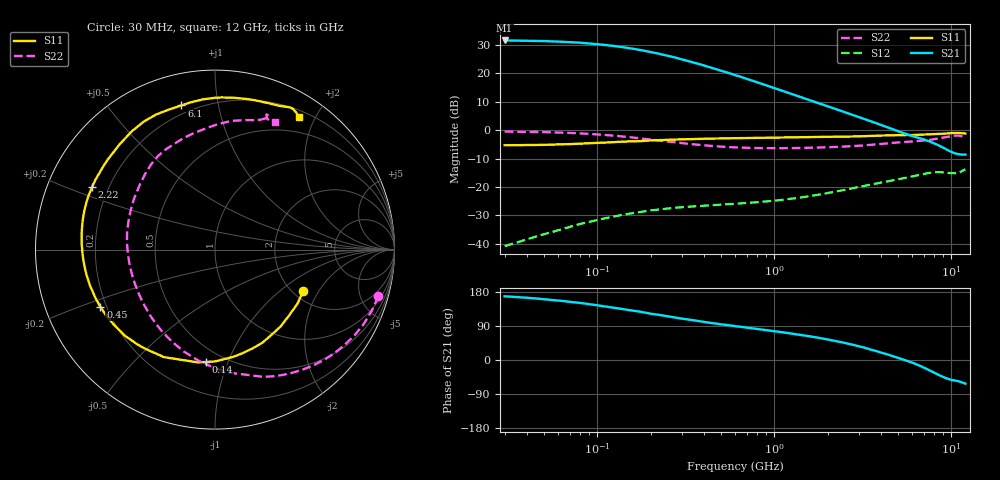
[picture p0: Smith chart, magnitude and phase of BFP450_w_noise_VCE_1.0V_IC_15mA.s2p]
! (c) 2015  Infineon Technologies AG, Munich
! Infineon Technologies  Discrete & RF Semiconductors
! BFP450
! VCE =  1.0 V,  IC =  15 mA
! Common Emitter S-Parameters:  Nov 2015
# GHz  S  MA  R  50
!  f  S11  S21  S12  S22
! GHz  MAG  ANG  MAG  ANG  MAG  ANG  MAG  ANG
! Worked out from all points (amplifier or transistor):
!   239 points, 30 MHz to 12 GHz, reference 50 ohm
!   highest |S21| = 31.6 dB at 30 MHz (marker M1)
!   |S21| within 3 dB of that: start of sweep to 162.4 MHz
!   unconditionally stable (mu >= 1): 1.788 GHz to end of sweep
!   at 300 MHz: K = 0.24, MSG = 26.0 dB, |S12| = -27.1 dB
!   at 1.88 GHz: K = 1.02, MAG = 14.8 dB, |S12| = -22.4 dB
!   at 12 GHz: K = 1.11, MAG = 0.6 dB, |S12| = -13.8 dB
!   lowest NFmin = 1.04 dB at 450 MHz
!   S11 on the Smith chart (normalised r, x): 30 MHz: 2.25, -1.49; 140 MHz: 0.41, -0.84; 450 MHz: 0.18, -0.23; 2.22 GHz: 0.14, +0.23; 6.1 GHz: 0.16, +0.78; 12 GHz: 0.29, +1.79
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0.03  0.544 -25.4  38.03 168.1  0.0091 80.5  0.9466 -16.0
0.04  0.5494 -33.5  37.6 164.3  0.012 77.8  0.9374 -21.3
0.055  0.5565 -45.7  36.73 158.8  0.016 72.1  0.919 -28.9
0.065  0.5653 -53.0  35.93 155.4  0.0186 68.9  0.9039 -33.8
0.085  0.5849 -66.2  34.18 149.0  0.0233 63.8  0.8713 -43.2
0.11  0.6059 -80.2  31.79 141.7  0.0281 57.8  0.8274 -54.0
0.14  0.6277 -94.5  28.93 134.2  0.0326 51.9  0.7757 -65.5
0.15  0.6356 -98.6  28.04 131.8  0.0339 50.0  0.7596 -69.0
0.175  0.6423 -107.1  25.83 127.4  0.0363 46.3  0.7171 -76.3
0.2  0.6628 -115.3  23.79 122.2  0.0388 43.1  0.6876 -84.4
0.24  0.6749 -124.7  21.09 116.7  0.0413 39.2  0.6421 -94.2
0.3  0.6942 -136.2  17.72 109.2  0.0442 35.0  0.5934 -107.1
0.4  0.709 -148.9  13.81 100.5  0.0471 30.9  0.5428 -122.9
0.45  0.7138 -153.5  12.38 97.1  0.0482 29.8  0.5268 -129.2
0.6  0.7249 -163.9  9.347 89.3  0.0508 28.2  0.4991 -143.5
0.8  0.7336 -173.1  6.965 81.8  0.0541 28.1  0.4855 -156.4
1  0.7403 -180.0  5.504 75.9  0.0575 28.7  0.4825 -165.8
1.64  0.7586 164.4  3.266 61.4  0.0704 30.4  0.4927 174.5
2.22  0.7687 153.1  2.361 50.0  0.0831 29.4  0.5076 161.6
4.5  0.8159 119.1  1.078 12.5  0.1277 15.1  0.5937 126.8
6.1  0.8243 103.1  0.78 -8.1  0.1555 2.9  0.6361 109.1
12  0.8736 57.5  0.373 -62.4  0.2048 -41.5  0.7836 64.7
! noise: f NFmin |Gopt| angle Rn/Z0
0.45  1.04  0.28  177  0.05
0.9  1.09  0.34  174  0.07
1.9  1.26  0.48  -168  0.06
2.4  1.42  0.51  -157  0.08
